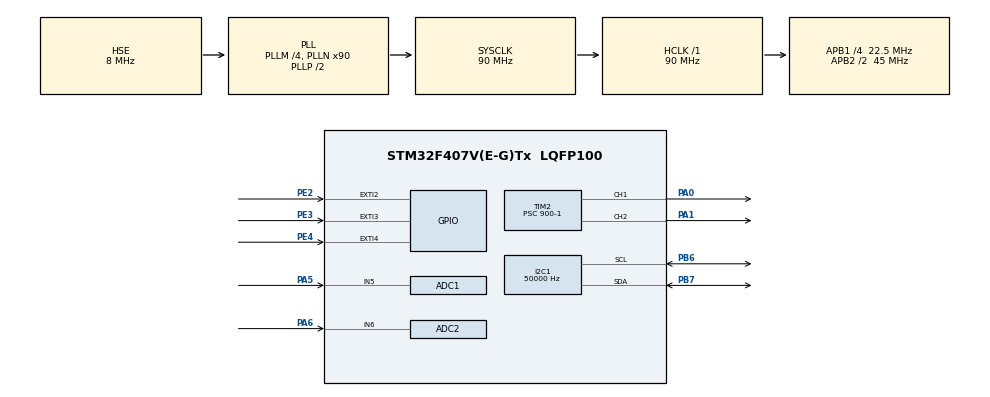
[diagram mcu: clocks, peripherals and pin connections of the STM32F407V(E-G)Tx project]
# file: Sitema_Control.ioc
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ADC1.Channel-1\#ChannelRegularConversion=ADC_CHANNEL_5
ADC1.NbrOfConversionFlag=1
ADC1.Rank-1\#ChannelRegularConversion=1
ADC1.Resolution=ADC_RESOLUTION_10B
ADC1.SamplingTime-1\#ChannelRegularConversion=ADC_SAMPLETIME_3CYCLES
ADC1.master=1
ADC2.Channel-1\#ChannelRegularConversion=ADC_CHANNEL_6
ADC2.NbrOfConversionFlag=1
ADC2.Rank-1\#ChannelRegularConversion=1
ADC2.Resolution=ADC_RESOLUTION_10B
ADC2.SamplingTime-1\#ChannelRegularConversion=ADC_SAMPLETIME_3CYCLES
I2C1.ClockSpeed=50000
Mcu.Family=STM32F4
Mcu.Name=STM32F407V(E-G)Tx
Mcu.Package=LQFP100
NVIC.ADC_IRQn=true\:0\:0\:false\:false\:true\:true\:true
NVIC.EXTI2_IRQn=true\:0\:0\:false\:false\:true\:true\:true
NVIC.EXTI3_IRQn=true\:0\:0\:false\:false\:true\:true\:true
NVIC.EXTI4_IRQn=true\:0\:0\:false\:false\:true\:true\:true
NVIC.PriorityGroup=NVIC_PRIORITYGROUP_0
NVIC.TIM1_UP_TIM10_IRQn=true\:0\:0\:false\:false\:true\:false\:true
NVIC.TIM2_IRQn=true\:0\:0\:false\:false\:true\:true\:true
NVIC.TimeBase=TIM1_UP_TIM10_IRQn
NVIC.TimeBaseIP=TIM1
PA0-WKUP.Signal=S_TIM2_CH1_ETR
PA1.Signal=S_TIM2_CH2
PA5.Signal=ADCx_IN5
PA6.Signal=ADCx_IN6
PB6.GPIO_Pu=GPIO_PULLUP
PB6.Mode=I2C
PB6.Signal=I2C1_SCL
PB7.GPIO_Pu=GPIO_PULLUP
PB7.Mode=I2C
PB7.Signal=I2C1_SDA
PE2.GPIO_PuPd=GPIO_PULLUP
PE2.Signal=GPXTI2
PE3.GPIO_PuPd=GPIO_PULLUP
PE3.Signal=GPXTI3
PE4.GPIO_PuPd=GPIO_PULLUP
PE4.Signal=GPXTI4
PH0-OSC_IN.Mode=HSE-External-Oscillator
PH0-OSC_IN.Signal=RCC_OSC_IN
PH1-OSC_OUT.Mode=HSE-External-Oscillator
PH1-OSC_OUT.Signal=RCC_OSC_OUT
ProjectManager.HeapSize=0x200
ProjectManager.StackSize=0x400
ProjectManager.TargetToolchain=STM32CubeIDE
RCC.48MHZClocksFreq_Value=25714285.714285713
RCC.AHBFreq_Value=90000000
RCC.APB1CLKDivider=RCC_HCLK_DIV4
RCC.APB1Freq_Value=22500000
RCC.APB1TimFreq_Value=45000000
RCC.APB2CLKDivider=RCC_HCLK_DIV2
RCC.APB2Freq_Value=45000000
RCC.APB2TimFreq_Value=90000000
RCC.CortexFreq_Value=90000000
RCC.HCLKFreq_Value=90000000
RCC.HSE_VALUE=8000000
RCC.HSI_VALUE=16000000
RCC.LSE_VALUE=32768
RCC.PLLM=4
RCC.PLLN=90
RCC.PLLQ=7
RCC.PLLSourceVirtual=RCC_PLLSOURCE_HSE
RCC.SYSCLKFreq_VALUE=90000000
RCC.SYSCLKSource=RCC_SYSCLKSOURCE_PLLCLK
RCC.VCOOutputFreq_Value=180000000
SH.ADCx_IN5.0=ADC1_IN5,IN5
SH.ADCx_IN6.0=ADC2_IN6,IN6
SH.S_TIM2_CH1_ETR.0=TIM2_CH1,PWM Generation1 CH1
SH.S_TIM2_CH2.0=TIM2_CH2,PWM Generation2 CH2
TIM2.Channel-PWM\ Generation1\ CH1=TIM_CHANNEL_1
TIM2.Channel-PWM\ Generation2\ CH2=TIM_CHANNEL_2
TIM2.Period=1000-1
TIM2.Prescaler=900-1
VP_SYS_VS_tim1.Mode=TIM1
VP_TIM2_VS_ClockSourceINT.Mode=Internal
board=STM32F407G-DISC1

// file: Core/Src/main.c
/* USER CODE BEGIN Header */
/**
  ******************************************************************************
  * @file           : main.c
  * @brief          : Main program body
  ******************************************************************************
  * @attention
  *
  * <h2><center>&copy; Copyright (c) 2021 STMicroelectronics.
  * All rights reserved.</center></h2>
  *
  * This software component is licensed by ST under Ultimate Liberty license
  * SLA0044, the "License"; You may not use this file except in compliance with
  * the License. You may obtain a copy of the License at:
  *                             www.st.com/SLA0044
  *
  ******************************************************************************
  */
/* USER CODE END Header */
#include "main.h"

/* USER CODE BEGIN PD */

#define MAX_POTE 1023
#define MIN_POTE 5
#define MAX_NIVEL 1023
#define MIN_NIVEL 5

//I2C Para la LCD
#define SLAVE_ADDRESS_LCD 0x4E //Creo que no es esta, mirar la datasheet(SOLUCIONADO)

/* USER CODE END PD */

ADC_HandleTypeDef hadc1;
ADC_HandleTypeDef hadc2;

I2C_HandleTypeDef hi2c1;

TIM_HandleTypeDef htim2;

void SystemClock_Config(void);
static void MX_GPIO_Init(void);
static void MX_I2C1_Init(void);
static void MX_TIM2_Init(void);
static void MX_ADC1_Init(void);
static void MX_ADC2_Init(void);

/* USER CODE BEGIN 0 */

//Variable para retardos no bloqueantes
uint16_t tickstart;

//Flags de interrupciones de pulsadores
volatile uint8_t flag_cambio, flag_alerta, flag_rearme;
//volatile uint8_t button_count_cambio=0, button_count_alerta=0, button_count_rearme=0;
//volatile int counter_cambio=0, counter_alerta=0, counter_rearme=0;

//Valores analógicos
uint16_t valor_pote, valor_nivel;
int valorservo;

//Modo de funncionamiento
uint8_t mode = 0;

void Espera(int i){
	tickstart = HAL_GetTick();
			while((HAL_GetTick() - tickstart) < i);
}

//Interrupciones de pulsadores
void HAL_GPIO_EXTI_Callback(uint16_t GPIO_Pin){
	if(GPIO_Pin == GPIO_PIN_2){
			flag_cambio = 1;
	}
	if(GPIO_Pin == GPIO_PIN_3){
			flag_alerta = 1;
	}
	if(GPIO_Pin == GPIO_PIN_4){
			flag_rearme = 1;
	}
}

int debouncer(volatile uint8_t* button_int, GPIO_TypeDef* GPIO_port, uint16_t GPIO_number){
	static uint8_t button_count=0;
	static int counter=0;

	if (*button_int==1){
		if (button_count==0) {
			counter=HAL_GetTick();
			button_count++;										//Contador de disparo correcto
		}
		if (HAL_GetTick()-counter>=20){
			counter=HAL_GetTick();
			if (HAL_GPIO_ReadPin(GPIO_port, GPIO_number)!=1){	//Comprueba, si baja el nivel resetea
				button_count=1;
			}
			else{
				button_count++;									//Comprueba, si se mantiene el nivel incrementa
			}
			if (button_count==4){								//A los cuatro ciclos de confirmación correctos
				button_count=0;									//se trata de una pulsación buena
				*button_int=0;
				return 1;
			}
		}
	}
	return 0;
}

int ajuste_pote(int value){	// [MIN MAX] -> [0 100]
	//Minimo valor 67, maximo valor 550
	if(value <= MIN_POTE)
		return 0;
	else if (value >= MAX_POTE)
		return 100;
	else
		return (int)(100*((float)(value-MIN_POTE)/(float)(MAX_POTE-MIN_POTE)));
}

int ajuste_nivel(int value){  // [MIN MAX] -> [100 0]
	if(value <= MIN_NIVEL)
			return 0;
		else if (value >= MAX_NIVEL)
			return 100;
		else
			return (int)(100*((float)(value-MIN_POTE)/(float)(MAX_POTE-MIN_POTE)));
}

void esclusa(int value){
	if((value >= 0) && (value <= 100))
		htim2.Instance->CCR1 = value + 25;
	valorservo = value;
}
// Lectura de datos analógicos mediante DMA para el potenciómetro de control y el sensor de nivel

//uint32_t adcvalue_pote[2], adcvalue_nivel[2], adcbuffer_pote[2], adcbuffer_nivel[2];

/*void HAL_ADC_ConvCpltCallback (ADC_HandleTypeDef * hadc){

	if (hadc->Instance == ADC1){
		adcvalue_pote[0]=adcbuffer_pote[0];
		adcvalue_pote[1]=adcbuffer_pote[1];
		valor_pote = adcvalue_pote[0];
	}
	else if (hadc->Instance == ADC2){
		adcvalue_nivel[0]=adcbuffer_nivel[0];
		adcvalue_nivel[1]=adcbuffer_nivel[1];
		valor_nivel = adcvalue_nivel[0];
	}
}*/

// Funciones basicas para el funcionamiento de la LCD via I2C

void lcd_send_cmd (char cmd)  // envia comandos
{
  char data_u, data_l;
	uint8_t data_t[4];
	data_u = (cmd&0xf0);
	data_l = ((cmd<<4)&0xf0);
	data_t[0] = data_u|0x0C;  //en=1, rs=0
	data_t[1] = data_u|0x08;  //en=0, rs=0
	data_t[2] = data_l|0x0C;  //en=1, rs=0
	data_t[3] = data_l|0x08;  //en=0, rs=0
	HAL_I2C_Master_Transmit (&hi2c1, SLAVE_ADDRESS_LCD,(uint8_t *) data_t, 4, 100);
}

void lcd_send_data (char data) // envia datos a la placa, avanza automatico
{
	char data_u, data_l;
	uint8_t data_t[4];
	data_u = (data&0xf0);
	data_l = ((data<<4)&0xf0);
	data_t[0] = data_u|0x0D;  //en=1, rs=0
	data_t[1] = data_u|0x09;  //en=0, rs=0
	data_t[2] = data_l|0x0D;  //en=1, rs=0
	data_t[3] = data_l|0x09;  //en=0, rs=0
	HAL_I2C_Master_Transmit (&hi2c1, SLAVE_ADDRESS_LCD,(uint8_t *) data_t, 4, 100);
}

void lcd_clear (void) // vacia la placa
{
	lcd_send_cmd (0x80);
	for (int i=0; i<84; i++)
	{
		lcd_send_data (' ');
	}
}

void lcd_put_cur(int row, int col) // Situa el cursor
{
    switch (row)
    {
        case 0:
            col |= 0x80;
            break;
        case 1:
            col |= 0xC0;
            break;
        case 2:
            col |= 0x94;
            break;
        case 3:
            col |= 0xD4;
            break;

    }

    lcd_send_cmd (col);
}

void lcd_init (void) // Inicializacion de la placa
{
	// 4 bit initialisation
	Espera(50);  // wait for >40ms
	lcd_send_cmd (0x30);
	Espera(5);  // wait for >4.1ms
	lcd_send_cmd (0x30);
	Espera(1);  // wait for >100us
	lcd_send_cmd (0x30);
	Espera(10);
	lcd_send_cmd (0x20);  // 4bit mode
	Espera(10);

  // display initialisation
	lcd_send_cmd (0x28); // Function set --> DL=0 (4 bit mode), N = 1 (2 line display) F = 0 (5x8 characters)
	Espera(1);
	lcd_send_cmd (0x08); //Display on/off control --> D=0,C=0, B=0  ---> display off
	Espera(1);
	lcd_send_cmd (0x01);  // clear display
	Espera(1);
	lcd_send_cmd (0x06); //Entry mode set --> I/D = 1 (increment cursor) & S = 0 (no shift)
	Espera(1);
	lcd_send_cmd (0x0C); //Display on/off control --> D = 1, C and B = 0. (Cursor and blink, last two bits)
	lcd_clear ();
}

void lcd_send_string (char *str) // envia cadena de caracteres
{
	while (*str) lcd_send_data (*str++);
}

void display(int mode){
	static int tickstart = 0;
  	char str[4];
	if(HAL_GetTick() - tickstart > 500){
		tickstart = HAL_GetTick();
		switch(mode){
			case 0:		//Modo automático
			  	lcd_clear ();
			  	lcd_put_cur(0, 0);
			  	lcd_send_string ("Modo automatico");
			  	Espera(1);
			  	lcd_put_cur(1, 0);
			  	lcd_send_string ("Nvl:       ");
			  	Espera(1);
			  	lcd_put_cur(1, 7);
			  	sprintf(str, "%d", valor_nivel);           // integer to string
	            lcd_send_string (str);             // Aqui va la variable de nivel
			  	Espera(1);
			  	lcd_put_cur(2, 0);
			  	lcd_send_string ("Apra:      ");  //Necesito una forma corta de escribir apertura
			  	Espera(1);
			  	lcd_put_cur(2, 10);
			  	sprintf(str, "%d", ajuste_nivel(valor_nivel));           // integer to string
			  	lcd_send_string (str);	           //Aqui va la variable de apertura
			  	break;

			case 1:		//Modo manual
			  	lcd_clear ();
			  	lcd_put_cur(0, 0);
			  	lcd_send_string ("Modo manual");
			  	Espera(1);
			  	lcd_put_cur(1, 0);
			  	lcd_send_string ("Nvl:       ");
			  	Espera(1);
			  	lcd_put_cur(1, 7);
			  	sprintf(str, "%d", valor_nivel);           // integer to string
	            lcd_send_string (str);             // Aqui va la variable de nivel
			  	Espera(1);
			  	lcd_put_cur(2, 0);
			  	lcd_send_string ("Apra:      ");  //Necesito una forma corta de escribir apertura
			  	Espera(1);
			  	lcd_put_cur(2, 10);
			  	sprintf(str, "%d", ajuste_pote(valor_pote));           // integer to string
			  	lcd_send_string (str);	           //Aqui va la variable de apertura
			  	break;

			 default:		//Modo de bloqueo de emergencia

			    lcd_clear ();
			    lcd_put_cur(0, 0);
			  	lcd_send_string ("EMERGENCIA");
			  	Espera(1);
			    lcd_put_cur(1, 0);
			    lcd_send_string ("La esclusa se cerro");
			    Espera(1);
			    lcd_put_cur(2, 0);
			    lcd_send_string ("Cierre manualmente");
			    Espera(1);
			    lcd_put_cur(3, 0);
			    lcd_send_string ("Apra:      ");  //Necesito una forma corta de escribir apertura
			    Espera(1);
			    lcd_put_cur(3, 10);
			    sprintf(str, "%d", ajuste_pote(valor_pote));           // integer to string
			    lcd_send_string (str);	           //Aqui va la variable de apertura

			  	break;
		}
	}
}

void zumba(int on){
	if (on == 0){
		htim2.Instance->CCR2 = 0;
	}
	else{
		htim2.Instance->CCR2 = 200;
		Espera(500);
		htim2.Instance->CCR2 = 2000;
		Espera(500);
	}
}

/* USER CODE END 0 */

int main(void)
{

  /* MCU Configuration--------------------------------------------------------*/

  /* Reset of all peripherals, Initializes the Flash interface and the Systick. */
  HAL_Init();

  /* Configure the system clock */
  SystemClock_Config();

  /* Initialize all configured peripherals */
  MX_GPIO_Init();
  MX_I2C1_Init();
  MX_TIM2_Init();
  MX_ADC1_Init();
  MX_ADC2_Init();
  /* USER CODE BEGIN 2 */

  HAL_TIM_PWM_Start(&htim2, TIM_CHANNEL_1);
  HAL_TIM_PWM_Start(&htim2, TIM_CHANNEL_2);

  Espera(1);
  lcd_init ();

  Espera(1);
  lcd_send_cmd(0x80 || 0x00);
  Espera(1);
  lcd_send_string("PRUEBA");

  Espera(100);

  /* USER CODE END 2 */

  /* Infinite loop */
  while (1)
  {

    /* USER CODE BEGIN 3 */

	  /*//Prueba Servo
	  htim2.Instance->CCR1 = 25;  // duty cycle is .5 ms, 2.5% of 20ms (0º)
	  Espera(2000);
	  htim2.Instance->CCR2 = 0;  // Zumbador apagado
	  Espera(2000);
	  htim2.Instance->CCR1 = 75;  // duty cycle is 1.5 ms, 7.5% of 20ms (90º)
	  Espera(2000);
	  htim2.Instance->CCR2 = 500;  // Zumbador grave
	  Espera(2000);
	  htim2.Instance->CCR1 = 125;  // duty cycle is 2.5 ms, 12.5% of 20ms (180º)
	  Espera(2000);
	  htim2.Instance->CCR2 = 1000;  //Zumbador agudo
	  Espera(2000);
*/

	//Lecturas por polling (desgraciadamente) del ADC
	  HAL_ADC_Start(&hadc1);
	  	  if (HAL_ADC_PollForConversion(&hadc1, 100)==HAL_OK)
	  	  {
	  	   valor_pote=HAL_ADC_GetValue(&hadc1);
	  	  }
	  	  HAL_ADC_Stop(&hadc1);

	  HAL_ADC_Start(&hadc2);
	  	  if (HAL_ADC_PollForConversion(&hadc2, 100)==HAL_OK)
	  	  {
	  		valor_nivel=HAL_ADC_GetValue(&hadc2);
	  	  }
	  	  HAL_ADC_Stop(&hadc2);

	//Cambio de modo (1-automático 0-manual)
	 if((mode != 2) && debouncer(&flag_cambio, GPIOE, GPIO_PIN_2)){
		 flag_cambio = 0;
		 mode = (mode + 1) % 2;
	 }
	 //Desarme del modo de alerta
	 if(flag_rearme /*!debouncer(&flag_rearme, GPIOE, GPIO_PIN_4)*/){
		 flag_rearme = 0;
		 if(ajuste_pote(valor_pote) == 0){
		 	  mode = 1;
	  	 }
	  }
	  //Armado del modo de alerta PREFERENTE POR ORDEN IMPORTANTE
	  if(flag_alerta /*!debouncer(&flag_alerta, GPIOE, GPIO_PIN_3)*/){
		  flag_alerta = 0;
		  mode = 2;
	  }

	  //Verificaciones independientes de seguridad (capaces de activar el modo de emergencia)

	  switch(mode){

	  	  case 0:		//Modo automático
	  		  //Led verde
	  		  //Esclusa obedece al nivel de agua
	  		  esclusa(ajuste_nivel(valor_nivel));
	  		  //Pantalla informa del modo-nivel-apertura
	  		  display(0);
	  		  zumba(0);
	  		  break;

	  	  case 1:		//Modo manual
	  		  //Led amarillo
	  		  //Esclusa obedece al mando del potenciómetro
	  		  esclusa(ajuste_pote(valor_pote));
	  		  //Pantalla informa del modo-nivel-apertura
			  display(1);
	  		  zumba(0);
	  		  break;

	  	  default:		//Modo de bloqueo de emergencia
	  		  //Leds rojo
	  		  //Cerrar la esclusa totalmente
	  		  htim2.Instance->CCR1 = 25;  // duty cycle is .5 ms, 2.5% of 20ms (0º)
	  		  //Leds rojo
	  		  //Zumbador dando por culo
	  		  display(2);
	  		  zumba(1);
	  		  //Pantalla diciento EMERGENCIA
	  		  break;
	  }

  }
  /* USER CODE END 3 */
}

void SystemClock_Config(void)
{
  RCC_OscInitTypeDef RCC_OscInitStruct = {0};
  RCC_ClkInitTypeDef RCC_ClkInitStruct = {0};

  /** Configure the main internal regulator output voltage
  */
  __HAL_RCC_PWR_CLK_ENABLE();
  __HAL_PWR_VOLTAGESCALING_CONFIG(PWR_REGULATOR_VOLTAGE_SCALE1);
  /** Initializes the RCC Oscillators according to the specified parameters
  * in the RCC_OscInitTypeDef structure.
  */
  RCC_OscInitStruct.OscillatorType = RCC_OSCILLATORTYPE_HSE;
  RCC_OscInitStruct.HSEState = RCC_HSE_ON;
  RCC_OscInitStruct.PLL.PLLState = RCC_PLL_ON;
  RCC_OscInitStruct.PLL.PLLSource = RCC_PLLSOURCE_HSE;
  RCC_OscInitStruct.PLL.PLLM = 4;
  RCC_OscInitStruct.PLL.PLLN = 90;
  RCC_OscInitStruct.PLL.PLLP = RCC_PLLP_DIV2;
  RCC_OscInitStruct.PLL.PLLQ = 7;
  if (HAL_RCC_OscConfig(&RCC_OscInitStruct) != HAL_OK)
  {
    Error_Handler();
  }
  /** Initializes the CPU, AHB and APB buses clocks
  */
  RCC_ClkInitStruct.ClockType = RCC_CLOCKTYPE_HCLK|RCC_CLOCKTYPE_SYSCLK
                              |RCC_CLOCKTYPE_PCLK1|RCC_CLOCKTYPE_PCLK2;
  RCC_ClkInitStruct.SYSCLKSource = RCC_SYSCLKSOURCE_PLLCLK;
  RCC_ClkInitStruct.AHBCLKDivider = RCC_SYSCLK_DIV1;
  RCC_ClkInitStruct.APB1CLKDivider = RCC_HCLK_DIV4;
  RCC_ClkInitStruct.APB2CLKDivider = RCC_HCLK_DIV2;

  if (HAL_RCC_ClockConfig(&RCC_ClkInitStruct, FLASH_LATENCY_2) != HAL_OK)
  {
    Error_Handler();
  }
}

static void MX_ADC1_Init(void)
{

  ADC_ChannelConfTypeDef sConfig = {0};

  /** Configure the global features of the ADC (Clock, Resolution, Data Alignment and number of conversion)
  */
  hadc1.Instance = ADC1;
  hadc1.Init.ClockPrescaler = ADC_CLOCK_SYNC_PCLK_DIV2;
  hadc1.Init.Resolution = ADC_RESOLUTION_10B;
  hadc1.Init.ScanConvMode = DISABLE;
  hadc1.Init.ContinuousConvMode = DISABLE;
  hadc1.Init.DiscontinuousConvMode = DISABLE;
  hadc1.Init.ExternalTrigConvEdge = ADC_EXTERNALTRIGCONVEDGE_NONE;
  hadc1.Init.ExternalTrigConv = ADC_SOFTWARE_START;
  hadc1.Init.DataAlign = ADC_DATAALIGN_RIGHT;
  hadc1.Init.NbrOfConversion = 1;
  hadc1.Init.DMAContinuousRequests = DISABLE;
  hadc1.Init.EOCSelection = ADC_EOC_SINGLE_CONV;
  if (HAL_ADC_Init(&hadc1) != HAL_OK)
  {
    Error_Handler();
  }
  /** Configure for the selected ADC regular channel its corresponding rank in the sequencer and its sample time.
  */
  sConfig.Channel = ADC_CHANNEL_5;
  sConfig.Rank = 1;
  sConfig.SamplingTime = ADC_SAMPLETIME_3CYCLES;
  if (HAL_ADC_ConfigChannel(&hadc1, &sConfig) != HAL_OK)
  {
    Error_Handler();
  }

}

static void MX_ADC2_Init(void)
{

  ADC_ChannelConfTypeDef sConfig = {0};

  /** Configure the global features of the ADC (Clock, Resolution, Data Alignment and number of conversion)
  */
  hadc2.Instance = ADC2;
  hadc2.Init.ClockPrescaler = ADC_CLOCK_SYNC_PCLK_DIV2;
  hadc2.Init.Resolution = ADC_RESOLUTION_10B;
  hadc2.Init.ScanConvMode = DISABLE;
  hadc2.Init.ContinuousConvMode = DISABLE;
  hadc2.Init.DiscontinuousConvMode = DISABLE;
  hadc2.Init.ExternalTrigConvEdge = ADC_EXTERNALTRIGCONVEDGE_NONE;
  hadc2.Init.ExternalTrigConv = ADC_SOFTWARE_START;
  hadc2.Init.DataAlign = ADC_DATAALIGN_RIGHT;
  hadc2.Init.NbrOfConversion = 1;
  hadc2.Init.DMAContinuousRequests = DISABLE;
  hadc2.Init.EOCSelection = ADC_EOC_SINGLE_CONV;
  if (HAL_ADC_Init(&hadc2) != HAL_OK)
  {
    Error_Handler();
  }
  /** Configure for the selected ADC regular channel its corresponding rank in the sequencer and its sample time.
  */
  sConfig.Channel = ADC_CHANNEL_6;
  sConfig.Rank = 1;
  sConfig.SamplingTime = ADC_SAMPLETIME_3CYCLES;
  if (HAL_ADC_ConfigChannel(&hadc2, &sConfig) != HAL_OK)
  {
    Error_Handler();
  }

}

static void MX_I2C1_Init(void)
{

  hi2c1.Instance = I2C1;
  hi2c1.Init.ClockSpeed = 50000;
  hi2c1.Init.DutyCycle = I2C_DUTYCYCLE_2;
  hi2c1.Init.OwnAddress1 = 0;
  hi2c1.Init.AddressingMode = I2C_ADDRESSINGMODE_7BIT;
  hi2c1.Init.DualAddressMode = I2C_DUALADDRESS_DISABLE;
  hi2c1.Init.OwnAddress2 = 0;
  hi2c1.Init.GeneralCallMode = I2C_GENERALCALL_DISABLE;
  hi2c1.Init.NoStretchMode = I2C_NOSTRETCH_DISABLE;
  if (HAL_I2C_Init(&hi2c1) != HAL_OK)
  {
    Error_Handler();
  }

}

static void MX_TIM2_Init(void)
{

  TIM_ClockConfigTypeDef sClockSourceConfig = {0};
  TIM_MasterConfigTypeDef sMasterConfig = {0};
  TIM_OC_InitTypeDef sConfigOC = {0};

  htim2.Instance = TIM2;
  htim2.Init.Prescaler = 900-1;
  htim2.Init.CounterMode = TIM_COUNTERMODE_UP;
  htim2.Init.Period = 1000-1;
  htim2.Init.ClockDivision = TIM_CLOCKDIVISION_DIV1;
  htim2.Init.AutoReloadPreload = TIM_AUTORELOAD_PRELOAD_DISABLE;
  if (HAL_TIM_Base_Init(&htim2) != HAL_OK)
  {
    Error_Handler();
  }
  sClockSourceConfig.ClockSource = TIM_CLOCKSOURCE_INTERNAL;
  if (HAL_TIM_ConfigClockSource(&htim2, &sClockSourceConfig) != HAL_OK)
  {
    Error_Handler();
  }
  if (HAL_TIM_PWM_Init(&htim2) != HAL_OK)
  {
    Error_Handler();
  }
  sMasterConfig.MasterOutputTrigger = TIM_TRGO_RESET;
  sMasterConfig.MasterSlaveMode = TIM_MASTERSLAVEMODE_DISABLE;
  if (HAL_TIMEx_MasterConfigSynchronization(&htim2, &sMasterConfig) != HAL_OK)
  {
    Error_Handler();
  }
  sConfigOC.OCMode = TIM_OCMODE_PWM1;
  sConfigOC.Pulse = 0;
  sConfigOC.OCPolarity = TIM_OCPOLARITY_HIGH;
  sConfigOC.OCFastMode = TIM_OCFAST_DISABLE;
  if (HAL_TIM_PWM_ConfigChannel(&htim2, &sConfigOC, TIM_CHANNEL_1) != HAL_OK)
  {
    Error_Handler();
  }
  if (HAL_TIM_PWM_ConfigChannel(&htim2, &sConfigOC, TIM_CHANNEL_2) != HAL_OK)
  {
    Error_Handler();
  }
  HAL_TIM_MspPostInit(&htim2);

}

static void MX_GPIO_Init(void)
{
  GPIO_InitTypeDef GPIO_InitStruct = {0};

  /* GPIO Ports Clock Enable */
  __HAL_RCC_GPIOE_CLK_ENABLE();
  __HAL_RCC_GPIOH_CLK_ENABLE();
  __HAL_RCC_GPIOA_CLK_ENABLE();
  __HAL_RCC_GPIOB_CLK_ENABLE();

  /*Configure GPIO pins : PE2 PE3 PE4 */
  GPIO_InitStruct.Pin = GPIO_PIN_2|GPIO_PIN_3|GPIO_PIN_4;
  GPIO_InitStruct.Mode = GPIO_MODE_IT_RISING;
  GPIO_InitStruct.Pull = GPIO_PULLUP;
  HAL_GPIO_Init(GPIOE, &GPIO_InitStruct);

  /* EXTI interrupt init*/
  HAL_NVIC_SetPriority(EXTI2_IRQn, 0, 0);
  HAL_NVIC_EnableIRQ(EXTI2_IRQn);

  HAL_NVIC_SetPriority(EXTI3_IRQn, 0, 0);
  HAL_NVIC_EnableIRQ(EXTI3_IRQn);

  HAL_NVIC_SetPriority(EXTI4_IRQn, 0, 0);
  HAL_NVIC_EnableIRQ(EXTI4_IRQn);

}

void HAL_TIM_PeriodElapsedCallback(TIM_HandleTypeDef *htim)
{
  if (htim->Instance == TIM1) {
    HAL_IncTick();
  }
}

void Error_Handler(void)
{
  __disable_irq();
  while (1)
  {
  }
}

/************************ (C) COPYRIGHT STMicroelectronics *****END OF FILE****/
